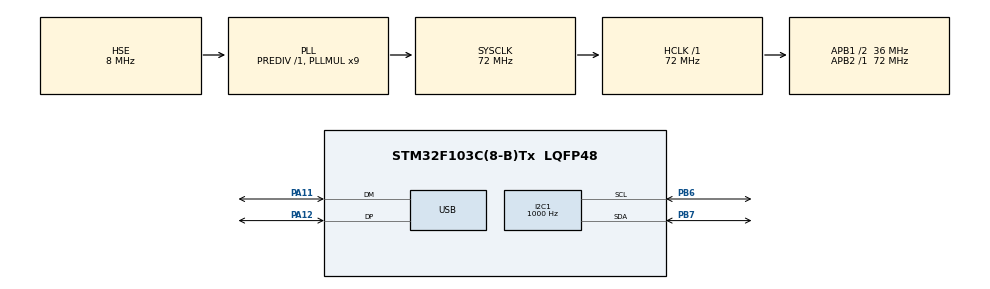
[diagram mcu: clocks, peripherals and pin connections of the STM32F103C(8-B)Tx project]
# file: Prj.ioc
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I2C1.ClockSpeed=1000
Mcu.Family=STM32F1
Mcu.Name=STM32F103C(8-B)Tx
Mcu.Package=LQFP48
NVIC.PriorityGroup=NVIC_PRIORITYGROUP_4
NVIC.USB_LP_CAN1_RX0_IRQn=true\:0\:0\:false\:false\:true\:false\:true
PA11.Mode=Device
PA11.Signal=USB_DM
PA12.Mode=Device
PA12.Signal=USB_DP
PA13.Mode=Serial_Wire
PA13.Signal=SYS_JTMS-SWDIO
PA14.Mode=Serial_Wire
PA14.Signal=SYS_JTCK-SWCLK
PB6.Mode=I2C
PB6.Signal=I2C1_SCL
PB7.Mode=I2C
PB7.Signal=I2C1_SDA
PD0-OSC_IN.Mode=HSE-External-Oscillator
PD0-OSC_IN.Signal=RCC_OSC_IN
PD1-OSC_OUT.Mode=HSE-External-Oscillator
PD1-OSC_OUT.Signal=RCC_OSC_OUT
ProjectManager.HeapSize=0x200
ProjectManager.StackSize=0x400
ProjectManager.TargetToolchain=MDK-ARM V5.27
RCC.AHBFreq_Value=72000000
RCC.APB1CLKDivider=RCC_HCLK_DIV2
RCC.APB1Freq_Value=36000000
RCC.APB1TimFreq_Value=72000000
RCC.APB2Freq_Value=72000000
RCC.APB2TimFreq_Value=72000000
RCC.HCLKFreq_Value=72000000
RCC.PLLMUL=RCC_PLL_MUL9
RCC.PLLSourceVirtual=RCC_PLLSOURCE_HSE
RCC.SYSCLKFreq_VALUE=72000000
RCC.SYSCLKSource=RCC_SYSCLKSOURCE_PLLCLK
RCC.USBFreq_Value=48000000
RCC.USBPrescaler=RCC_USBCLKSOURCE_PLL_DIV1_5
USB_DEVICE.CLASS_NAME_FS=CDC
USB_DEVICE.VirtualMode=Cdc
USB_DEVICE.VirtualModeFS=Cdc_FS
VP_USB_DEVICE_VS_USB_DEVICE_CDC_FS.Mode=CDC_FS
board=custom

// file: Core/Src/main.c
/* USER CODE BEGIN Header */
/**
  ******************************************************************************
  * @file           : main.c
  * @brief          : Main program body
  ******************************************************************************
  * @attention
  *
  * <h2><center>&copy; Copyright (c) 2021 STMicroelectronics.
  * All rights reserved.</center></h2>
  *
  * This software component is licensed by ST under BSD 3-Clause license,
  * the "License"; You may not use this file except in compliance with the
  * License. You may obtain a copy of the License at:
  *                        opensource.org/licenses/BSD-3-Clause
  *
  ******************************************************************************
  */
/* USER CODE END Header */
#include "main.h"
#include "usb_device.h"

I2C_HandleTypeDef hi2c1;

void SystemClock_Config(void);
static void MX_GPIO_Init(void);
static void MX_I2C1_Init(void);

/* USER CODE BEGIN 0 */
#define MPU6050_ADDRESS_I2C     (uint8_t)0x68

#define MPU6050_REG_GYRO_CONFIG (uint8_t)0x1B
#define MPU6050_REG_ACCEL_CONFIG    (uint8_t)0x1C

#define MPU6050_REG_ACCEL_XOUT_H (uint8_t)0x3B
#define MPU6050_REG_ACCEL_XOUT_L (uint8_t)0x3C
#define MPU6050_REG_ACCEL_YOUT_H (uint8_t)0x3D
#define MPU6050_REG_ACCEL_YOUT_L (uint8_t)0x3E
#define MPU6050_REG_ACCEL_ZOUT_H (uint8_t)0x3F
#define MPU6050_REG_ACCEL_ZOUT_L (uint8_t)0x40

typedef struct
{
  int16_t accel_x_out;
  int16_t accel_y_out;
  int16_t accel_z_out;
  int16_t temp_out;
  int16_t gyro_x_out;
  int16_t gyro_y_out;
  int16_t gyro_z_out;
} t_XYZ;

int16_t gy_data[14];

t_XYZ *XYZ;

void MPU6050_Read(uint8_t I2C_ADDRESS, uint8_t reg_addr, uint8_t *p_tx_buf, uint8_t tx_buf_size);
void MPU6050_Write(uint8_t I2C_ADDRESS, uint8_t *p_rx_buf, uint8_t rx_buf_size);
void MPU6050_Init(void);
void MPU6050_GetAllData(uint8_t *data);

void MPU6050_Read(uint8_t I2C_ADDRESS, uint8_t reg_addr, uint8_t *p_tx_buf, uint8_t tx_buf_size)
{
  MPU6050_Write(I2C_ADDRESS, &reg_addr, 1);
  while(HAL_I2C_Master_Receive(&hi2c1, I2C_ADDRESS<<1, p_tx_buf, tx_buf_size, 100) != HAL_OK)
  {
    if(HAL_I2C_GetError(&hi2c1) != HAL_I2C_ERROR_AF)
    {
      Error_Handler();
    }
  }

  while(HAL_I2C_GetState(&hi2c1) != HAL_I2C_STATE_READY){}
}

void MPU6050_Write(uint8_t I2C_ADDRESS, uint8_t *p_rx_buf, uint8_t rx_buf_size)
{
  while(HAL_I2C_Master_Transmit(&hi2c1, I2C_ADDRESS<<1, p_rx_buf, rx_buf_size, 100) != HAL_OK)
  {
    Error_Handler();
  }
  while(HAL_I2C_GetState(&hi2c1) != HAL_I2C_STATE_READY){}
}

void MPU6050_Init(void)
{
  uint8_t buf[7];
// включение модуля
  buf[0] = 0x6B; // 01101011
  buf[1] = 0x00;
  MPU6050_Write(MPU6050_ADDRESS_I2C, buf, 2);
// конфигурация гироскопа
  buf[0] = MPU6050_REG_GYRO_CONFIG;
  buf[1] = 0x08;
  MPU6050_Write(MPU6050_ADDRESS_I2C, buf, 2);
// конфигурация акселерометра
  buf[0] = MPU6050_REG_ACCEL_CONFIG;
  buf[1] = 0x10;
  MPU6050_Write(MPU6050_ADDRESS_I2C, buf, 2);
}

void MPU6050_Calibrate(void)
{
  int16_t buf[6];
  uint16_t meg_num = 1000;

  for(int i = 0; i < meg_num; ++i)
  {
//    MPU6050_GetAllData(buf);

  }
}

void MPU6050_GetAllData(uint8_t *data)
{
  uint8_t buf[14];

  MPU6050_Read(MPU6050_ADDRESS_I2C, MPU6050_REG_ACCEL_XOUT_H, data, 14);

  for(int i = 0; i < 3; ++i)
  {
    data[i] = (int16_t)((uint16_t)buf[2*i+1]);
    data[i] |= (int16_t)((uint16_t)buf[2*i]<<8);
  }

  for(int i = 4; i < 7; ++i)
  {
    data[i-1] = (int16_t)((uint16_t)buf[2*i+1]);
    data[i-1] |= (int16_t)((uint16_t)buf[2*i]<<8);
  }
}

/* USER CODE END 0 */

int main(void)
{

  /* MCU Configuration--------------------------------------------------------*/

  /* Reset of all peripherals, Initializes the Flash interface and the Systick. */
  HAL_Init();

  /* Configure the system clock */
  SystemClock_Config();

  /* Initialize all configured peripherals */
  MX_GPIO_Init();
  MX_I2C1_Init();
  MX_USB_DEVICE_Init();
  /* USER CODE BEGIN 2 */
  MPU6050_Init();
  /* USER CODE END 2 */

  /* Infinite loop */
  /* USER CODE BEGIN WHILE */
  while (1)
  {
    MPU6050_GetAllData((uint8_t*)gy_data);
    XYZ = (t_XYZ*)gy_data;
//    x = XYZ->accel_x_out;
    HAL_Delay(100);
    /* USER CODE END WHILE */

  }
}

void SystemClock_Config(void)
{
  RCC_OscInitTypeDef RCC_OscInitStruct = {0};
  RCC_ClkInitTypeDef RCC_ClkInitStruct = {0};
  RCC_PeriphCLKInitTypeDef PeriphClkInit = {0};

  /** Initializes the RCC Oscillators according to the specified parameters
  * in the RCC_OscInitTypeDef structure.
  */
  RCC_OscInitStruct.OscillatorType = RCC_OSCILLATORTYPE_HSE;
  RCC_OscInitStruct.HSEState = RCC_HSE_ON;
  RCC_OscInitStruct.HSEPredivValue = RCC_HSE_PREDIV_DIV1;
  RCC_OscInitStruct.HSIState = RCC_HSI_ON;
  RCC_OscInitStruct.PLL.PLLState = RCC_PLL_ON;
  RCC_OscInitStruct.PLL.PLLSource = RCC_PLLSOURCE_HSE;
  RCC_OscInitStruct.PLL.PLLMUL = RCC_PLL_MUL9;
  if (HAL_RCC_OscConfig(&RCC_OscInitStruct) != HAL_OK)
  {
    Error_Handler();
  }
  /** Initializes the CPU, AHB and APB buses clocks
  */
  RCC_ClkInitStruct.ClockType = RCC_CLOCKTYPE_HCLK|RCC_CLOCKTYPE_SYSCLK
                              |RCC_CLOCKTYPE_PCLK1|RCC_CLOCKTYPE_PCLK2;
  RCC_ClkInitStruct.SYSCLKSource = RCC_SYSCLKSOURCE_PLLCLK;
  RCC_ClkInitStruct.AHBCLKDivider = RCC_SYSCLK_DIV1;
  RCC_ClkInitStruct.APB1CLKDivider = RCC_HCLK_DIV2;
  RCC_ClkInitStruct.APB2CLKDivider = RCC_HCLK_DIV1;

  if (HAL_RCC_ClockConfig(&RCC_ClkInitStruct, FLASH_LATENCY_2) != HAL_OK)
  {
    Error_Handler();
  }
  PeriphClkInit.PeriphClockSelection = RCC_PERIPHCLK_USB;
  PeriphClkInit.UsbClockSelection = RCC_USBCLKSOURCE_PLL_DIV1_5;
  if (HAL_RCCEx_PeriphCLKConfig(&PeriphClkInit) != HAL_OK)
  {
    Error_Handler();
  }
}

static void MX_I2C1_Init(void)
{

  hi2c1.Instance = I2C1;
  hi2c1.Init.ClockSpeed = 1000;
  hi2c1.Init.DutyCycle = I2C_DUTYCYCLE_2;
  hi2c1.Init.OwnAddress1 = 0;
  hi2c1.Init.AddressingMode = I2C_ADDRESSINGMODE_7BIT;
  hi2c1.Init.DualAddressMode = I2C_DUALADDRESS_DISABLE;
  hi2c1.Init.OwnAddress2 = 0;
  hi2c1.Init.GeneralCallMode = I2C_GENERALCALL_DISABLE;
  hi2c1.Init.NoStretchMode = I2C_NOSTRETCH_DISABLE;
  if (HAL_I2C_Init(&hi2c1) != HAL_OK)
  {
    Error_Handler();
  }

}

static void MX_GPIO_Init(void)
{

  /* GPIO Ports Clock Enable */
  __HAL_RCC_GPIOD_CLK_ENABLE();
  __HAL_RCC_GPIOA_CLK_ENABLE();
  __HAL_RCC_GPIOB_CLK_ENABLE();

}

void Error_Handler(void)
{
  __disable_irq();
  while (1)
  {
  }
}

/************************ (C) COPYRIGHT STMicroelectronics *****END OF FILE****/
